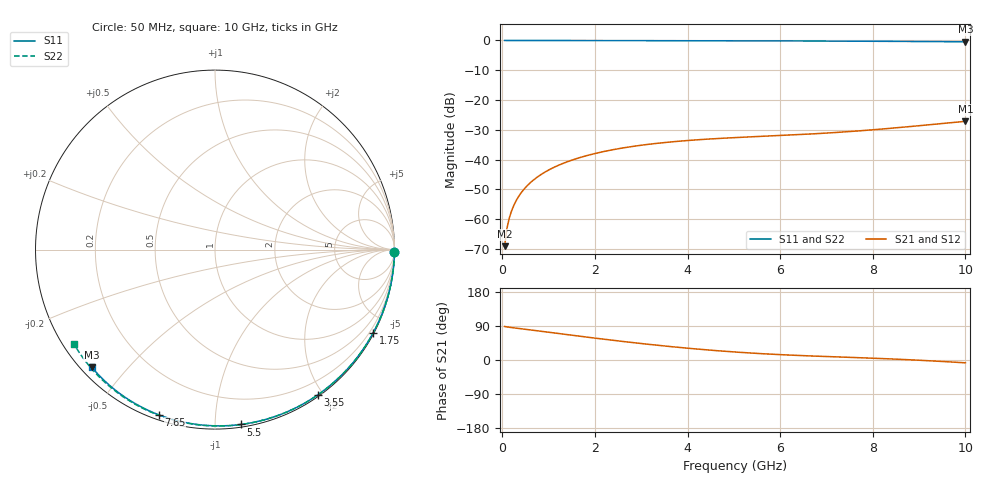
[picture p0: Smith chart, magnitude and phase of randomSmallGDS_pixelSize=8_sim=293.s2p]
! freq	dB(S11)	phase(S11)	dB(S12)	phase(S12)
!  dB(S21)	phase(S21)	dB(S22)	phase(S22)
!S-par simulation data
#  GHz  S  DB  R 50
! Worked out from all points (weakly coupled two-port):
!   200 points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, 50 MHz to 10 GHz, reference 50 ohm
!   highest |S21| = -27.15 dB at 10 GHz (marker M1); lowest = -69.1 dB at 50 MHz (marker M2)
!   lowest |S11| = -0.5 dB at 10 GHz (marker M3), VSWR 38.34, Z = 1.51 - j20 ohm
!   |S11| at or under -10 dB: nowhere
!   |S22| runs from -0.5 to 0.0 dB; largest |S21 - S12| = 0
!   S11 on the Smith chart (normalised r, x): 50 MHz: open; 1.75 GHz: 0.04, -4.06; 3.55 GHz: 0.02, -1.93; 5.5 GHz: 0.02, -1.16; 7.65 GHz: 0.02, -0.72; 10 GHz: 0.03, -0.40
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0.05  -0.00 -0.8  -69.08 88.4  -69.08 88.4  -0.00 -0.9
0.1  -0.00 -1.6  -63.14 87.3  -63.14 87.3  -0.00 -1.7
0.15  -0.00 -2.4  -59.69 86.4  -59.69 86.4  -0.00 -2.6
0.2  -0.00 -3.2  -57.24 85.6  -57.24 85.6  -0.00 -3.5
0.25  -0.00 -4.0  -55.34 84.9  -55.34 84.9  -0.00 -4.3
0.35  -0.00 -5.6  -52.46 83.5  -52.46 83.5  -0.00 -6.0
0.5  -0.01 -8.0  -49.40 81.2  -49.40 81.2  -0.01 -8.6
0.7  -0.01 -11.2  -46.53 78.1  -46.53 78.1  -0.01 -12.0
1  -0.02 -15.9  -43.52 73.3  -43.52 73.3  -0.02 -17.1
1.35  -0.03 -21.4  -41.05 67.8  -41.05 67.8  -0.03 -23.0
1.75  -0.04 -27.6  -38.99 61.6  -38.99 61.6  -0.04 -29.7
2.5  -0.05 -39.1  -36.37 50.4  -36.37 50.4  -0.05 -42.0
3.4  -0.07 -52.5  -34.45 38.3  -34.45 38.3  -0.08 -56.3
3.55  -0.07 -54.7  -34.21 36.4  -34.21 36.4  -0.08 -58.6
4.3  -0.09 -65.3  -33.27 27.9  -33.27 27.9  -0.10 -70.0
5.05  -0.12 -75.7  -32.60 20.9  -32.60 20.9  -0.12 -81.0
5.5  -0.13 -81.7  -32.27 17.4  -32.27 17.4  -0.14 -87.4
6.7  -0.19 -97.1  -31.37 10.5  -31.37 10.5  -0.20 -103.9
7.65  -0.24 -108.8  -30.43 6.3  -30.43 6.3  -0.26 -116.4
8.35  -0.30 -117.1  -29.55 3.1  -29.55 3.1  -0.32 -125.4
9.2  -0.37 -127.1  -28.34 -1.9  -28.34 -1.9  -0.40 -136.2
10  -0.45 -136.3  -27.15 -7.5  -27.15 -7.5  -0.49 -146.3
